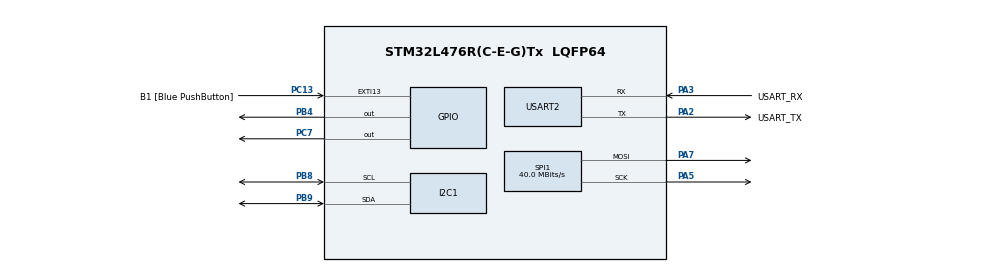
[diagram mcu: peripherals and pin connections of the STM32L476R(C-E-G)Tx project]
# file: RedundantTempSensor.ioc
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I2C1.Timing=0x10D19CE4
Mcu.Family=STM32L4
Mcu.Name=STM32L476R(C-E-G)Tx
Mcu.Package=LQFP64
NVIC.PriorityGroup=NVIC_PRIORITYGROUP_4
NVIC.TIM1_UP_TIM16_IRQn=true\:0\:0\:false\:false\:true\:true\:true\:true
NVIC.USART2_IRQn=true\:0\:0\:false\:false\:true\:true\:true\:true
PA13\ (JTMS-SWDIO).GPIO_Label=TMS
PA13\ (JTMS-SWDIO).Mode=Serial_Wire
PA13\ (JTMS-SWDIO).Signal=SYS_JTMS-SWDIO
PA14\ (JTCK-SWCLK).GPIO_Label=TCK
PA14\ (JTCK-SWCLK).Mode=Serial_Wire
PA14\ (JTCK-SWCLK).Signal=SYS_JTCK-SWCLK
PA2.GPIO_Label=USART_TX
PA2.GPIO_Mode=GPIO_MODE_AF_PP
PA2.GPIO_PuPd=GPIO_NOPULL
PA2.GPIO_Speed=GPIO_SPEED_FREQ_VERY_HIGH
PA2.Mode=Asynchronous
PA2.Signal=USART2_TX
PA3.GPIO_Label=USART_RX
PA3.GPIO_Mode=GPIO_MODE_AF_PP
PA3.GPIO_PuPd=GPIO_NOPULL
PA3.GPIO_Speed=GPIO_SPEED_FREQ_VERY_HIGH
PA3.Mode=Asynchronous
PA3.Signal=USART2_RX
PA5.Mode=TX_Only_Simplex_Unidirect_Master
PA5.Signal=SPI1_SCK
PA7.Mode=TX_Only_Simplex_Unidirect_Master
PA7.Signal=SPI1_MOSI
PB3\ (JTDO-TRACESWO).GPIO_Label=SWO
PB3\ (JTDO-TRACESWO).Signal=SYS_JTDO-SWO
PB4\ (NJTRST).Signal=GPIO_Output
PB8.Mode=I2C
PB8.Signal=I2C1_SCL
PB9.Mode=I2C
PB9.Signal=I2C1_SDA
PC13.GPIO_Label=B1 [Blue PushButton]
PC13.GPIO_ModeDefaultEXTI=GPIO_MODE_IT_FALLING
PC13.GPIO_PuPd=GPIO_NOPULL
PC13.Signal=GPXTI13
PC14-OSC32_IN\ (PC14).Mode=LSE-External-Oscillator
PC14-OSC32_IN\ (PC14).Signal=RCC_OSC32_IN
PC15-OSC32_OUT\ (PC15).Mode=LSE-External-Oscillator
PC15-OSC32_OUT\ (PC15).Signal=RCC_OSC32_OUT
PC7.Signal=GPIO_Output
PH0-OSC_IN\ (PH0).Signal=RCC_OSC_IN
PH1-OSC_OUT\ (PH1).Signal=RCC_OSC_OUT
ProjectManager.HeapSize=0x200
ProjectManager.StackSize=0x400
ProjectManager.TargetToolchain=CMake
RCC.ADCFreq_Value=64000000
RCC.AHBFreq_Value=80000000
RCC.APB1Freq_Value=80000000
RCC.APB1TimFreq_Value=80000000
RCC.APB2Freq_Value=80000000
RCC.APB2TimFreq_Value=80000000
RCC.CortexFreq_Value=80000000
RCC.HCLKFreq_Value=80000000
RCC.HSE_VALUE=8000000
RCC.HSI_VALUE=16000000
RCC.MSI_VALUE=4000000
RCC.PLLN=10
RCC.PLLSourceVirtual=RCC_PLLSOURCE_HSI
RCC.PREFETCH_ENABLE=1
RCC.SYSCLKFreq_VALUE=80000000
RCC.SYSCLKSource=RCC_SYSCLKSOURCE_PLLCLK
RCC.USBFreq_Value=64000000
RCC.VCOOutputFreq_Value=160000000
SPI1.CalculateBaudRate=40.0 MBits/s
SPI1.DataSize=SPI_DATASIZE_16BIT
SPI1.Direction=SPI_DIRECTION_2LINES
SPI1.Mode=SPI_MODE_MASTER
SPI1.VirtualType=VM_MASTER
TIM16.Period=50000-1
TIM16.Prescaler=8000-1
TIM16.RepetitionCounter=0
USART2.VirtualMode-Asynchronous=VM_ASYNC
VP_RTC_VS_RTC_Activate.Mode=RTC_Enabled
VP_TIM16_VS_ClockSourceINT.Mode=Enable_Timer
board=NUCLEO-L476RG

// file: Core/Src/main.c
/* USER CODE BEGIN Header */
/**
 ******************************************************************************
 * @file           : main.c
 * @brief          : Main program body
 ******************************************************************************
 * @attention
 *
 * The following copyright was generated by STM32CubeMX. Original contributions
 * from the author may be held under a different copyright. 👇
 * Copyright (c) 2026 STMicroelectronics.
 * All rights reserved.
 *
 * This software is licensed under terms that can be found in the LICENSE file
 * in the root directory of this software component.
 * If no LICENSE file comes with this software, it is provided AS-IS.
 *
 ******************************************************************************
 */
/* USER CODE END Header */
#include "main.h"

/* USER CODE BEGIN Includes */
#include "alerts.h"
#include "defines.h"
#include "determination_logic.h"
#include "error_codes.h"
#include "hardware.h"
#include "interrupt_handlers.h"
#include "interrupts.h"
#include "logging.h"
#include "math.h"
#include "rtc.h"
#include "sensor.h"
#include "stm32.h"
#include "string.h"
#include "usb_comm.h"

/* USER CODE END Includes */

/* USER CODE BEGIN PV */

static Sensor sensors[SENSOR_COUNT]; // An array to hold the data associated with each sensor
float displayTemp = NAN; // A float to hold the 'display temperature' after calculated (or NAN)

// A variable to determine whether enough time has passed since the last read session
volatile uint8_t readNow = 1;

/*USART Message Handling Variables*/
uint8_t setTime = 0; // Used to tell the system that the RTC is ready to be set
volatile uint8_t usartMessage[BUFFER_SIZE]; // A buffer to hold completely received USART messages

/* USER CODE END PV */

/* USER CODE BEGIN PFP */
void prepNextSensorRead(void);
void RTC_RequestTime(void);

/* USER CODE END PFP */

int main(void)
{

    /* MCU Configuration--------------------------------------------------------*/

    /* Reset of all peripherals, Initializes the Flash interface and the Systick. */
    HAL_Init();

    /* Configure the system clock */
    SystemClock_Config();

    /* Initialize all configured peripherals */
    MX_GPIO_Init();
    MX_I2C1_Init();
    MX_USART2_UART_Init();
    MX_RTC_Init();
    MX_SPI1_Init();
    MX_TIM16_Init();
    /* USER CODE BEGIN 2 */

    /*Verify expected temp sensors are communicating, and initialize structs for the sensors*/
    setupSensors(SENSOR_COUNT, sensors);

    // Setup timer 16 interrupt for reading the temp sensor registers every
    // REQUESTED_SENSOR_SAMPLING_INTERVAL_SEC seconds...
    setTIMInterrupt();

    // Setup the USART Interrupt...
    setUSARTInterrupt();

    // Request information via USART to set RTC Clock
    RTC_RequestTime();

    /* USER CODE END 2 */

    /* Infinite loop */
    /* USER CODE BEGIN WHILE */
    while (1)
    {
        if (readNow) // If the timer 16 interrupt has fired since the last sensor reading session...
        {
            readNow = 0;
            if (!readTempSensors(sensors)) // If failure occurs with communication to all sensors...
            {
                logError(ALL_SENSOR_READS_MISSING, -1); //...log an 'ALL_SENSOR_READS_MISSING' error
            }
            displayTemp = determineTemp(sensors); // Otherwise, use those readings (and any flags
                                                  // set) to determine a 'display temperature'
            logData(displayTemp, sensors);        // Send a data log entry over USART
            setAlerts(sensors);                   // Set buzzer and LEDs as appropriate
            prepNextSensorRead(); // Prepare for the next sensor reading/polling session
        }
        usartMessageHandler();   // Handle any messages received via USART
        interruptErrorHandler(); // Log any errors that occurred based on flags set during interrupt
                                 // code
        updateBuzzer(); // Turns off the buzzer if the buzzer is active and no longer supposed to be
                        // turned on
        /* USER CODE END WHILE */

    }
}

/* USER CODE BEGIN 4 */

void prepNextSensorRead(void)
{
    clearFaults(sensors);
    displayTemp = NAN;
}

void RTC_RequestTime(void)
{
    setTime = 1;
    usb_println("SEND_TIME");
}

/* USER CODE END 4 */

void Error_Handler(void)
{
    __disable_irq();
    while (1)
    {
    }
}
